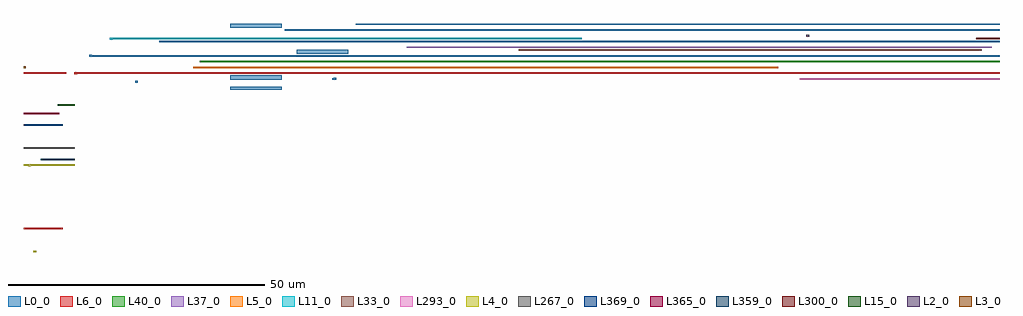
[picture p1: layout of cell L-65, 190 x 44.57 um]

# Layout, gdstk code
import gdstk
lib = gdstk.Library(unit=1e-6, precision=1e-09)
def P(c, l, *ps):  # polygons
    for p in ps: c.add(gdstk.Polygon(p, *l))
L0_0 = (0, 0)
L2_0 = (2, 0)
L3_0 = (3, 0)
L4_0 = (4, 0)
L5_0 = (5, 0)
L6_0 = (6, 0)
L11_0 = (11, 0)
L15_0 = (15, 0)
L33_0 = (33, 0)
L37_0 = (37, 0)
L40_0 = (40, 0)
L267_0 = (267, 0)
L293_0 = (293, 0)
L300_0 = (300, 0)
L359_0 = (359, 0)
L365_0 = (365, 0)
L369_0 = (369, 0)

l_65 = lib.new_cell('L-65')
P(l_65, L0_0, [(1260.13,764.26),(1260.74,764.26),(1260.74,763.98),(1260.13,763.98),(1260.13,764.26)],
  [(1260.08,764.26),(1260.46,764.26),(1260.46,763.98),(1260.08,763.98),(1260.08,764.26)],
  [(1260.36,764.31),(1260.84,764.31),(1260.84,763.93),(1260.36,763.93),(1260.36,764.31)],
  [(1390,773.5),(1250.89,773.5),(1250.89,773.78),(1390,773.78),(1390,773.5)],
  [(1250.84,773.78),(1251.22,773.78),(1251.22,773.5),(1250.84,773.5),(1250.84,773.78)],
  [(1264.7,774.9),(1265.08,774.9),(1265.08,774.62),(1264.7,774.62),(1264.7,774.9)],
  [(1390,774.62),(1264.75,774.62),(1264.75,774.9),(1390,774.9),(1390,774.62)],
  [(1212.84,768.79),(1213.32,768.79),(1213.32,768.41),(1212.84,768.41),(1212.84,768.79)],
  [(1390,768.46),(1212.94,768.46),(1212.94,768.74),(1390,768.74),(1390,768.46)],
  [(1226.42,771.54),(1226.8,771.54),(1226.8,771.26),(1226.42,771.26),(1226.42,771.54)],
  [(1390,771.26),(1226.47,771.26),(1226.47,771.54),(1390,771.54),(1390,771.26)],
  [(1221.72,763.75),(1222.26,763.75),(1222.26,763.37),(1221.72,763.37),(1221.72,763.75)],
  [(1221.8,763.7),(1222.18,763.7),(1222.18,763.42),(1221.8,763.42),(1221.8,763.7)],
  [(1260.08,764.26),(1260.46,764.26),(1260.46,763.98),(1260.08,763.98),(1260.08,764.26)],
  [(1260.36,764.31),(1260.84,764.31),(1260.84,763.93),(1260.36,763.93),(1260.36,764.31)],
  [(1240.24,774.88),(1250.24,774.88),(1250.24,774.08),(1240.24,774.08),(1240.24,774.88)],
  [(1240.24,774.88),(1250.24,774.88),(1250.24,774.08),(1240.24,774.08),(1240.24,774.88)],
  [(1240.24,764.8),(1250.24,764.8),(1250.24,764),(1240.24,764),(1240.24,764.8)],
  [(1240.24,764.8),(1250.24,764.8),(1250.24,764),(1240.24,764),(1240.24,764.8)],
  [(1253.24,769.84),(1263.24,769.84),(1263.24,769.04),(1253.24,769.04),(1253.24,769.84)],
  [(1253.24,769.84),(1263.24,769.84),(1263.24,769.04),(1253.24,769.04),(1253.24,769.84)],
  [(1240.81,762),(1240.81,762.62),(1247.95,762.62),(1247.95,762),(1240.81,762)],
  [(1240.24,762),(1240.24,762.62),(1250.24,762.62),(1250.24,762),(1240.24,762)])
P(l_65, L2_0, [(1352.4,772.71),(1352.94,772.71),(1352.94,772.33),(1352.4,772.33),(1352.4,772.71)],
  [(1352.48,772.66),(1352.86,772.66),(1352.86,772.38),(1352.48,772.38),(1352.48,772.66)])
P(l_65, L3_0, [(1200,766.55),(1200.48,766.55),(1200.48,766.17),(1200,766.17),(1200,766.55)],
  [(1200.02,766.5),(1200.4,766.5),(1200.4,766.22),(1200.02,766.22),(1200.02,766.5)])
P(l_65, L4_0, [(1200,747.46),(1201.34,747.46),(1201.34,747.18),(1200,747.18),(1200,747.46)],
  [(1210,747.18),(1201.06,747.18),(1201.06,747.46),(1210,747.46),(1210,747.18)],
  [(1200.96,747.51),(1201.44,747.51),(1201.44,747.13),(1200.96,747.13),(1200.96,747.51)],
  [(1210,747.18),(1201.06,747.18),(1201.06,747.46),(1210,747.46),(1210,747.18)],
  [(1200.96,747.51),(1201.44,747.51),(1201.44,747.13),(1200.96,747.13),(1200.96,747.51)],
  [(1202,730.66),(1202.38,730.66),(1202.38,730.38),(1202,730.38),(1202,730.66)],
  [(1201.92,730.71),(1202.46,730.71),(1202.46,730.33),(1201.92,730.33),(1201.92,730.71)])
P(l_65, L5_0, [(1233.07,766.5),(1346.87,766.5),(1346.87,766.22),(1233.07,766.22),(1233.07,766.5)],
  [(1346.54,766.5),(1346.92,766.5),(1346.92,766.22),(1346.54,766.22),(1346.54,766.5)],
  [(1233.02,766.5),(1233.4,766.5),(1233.4,766.22),(1233.02,766.22),(1233.02,766.5)])
P(l_65, L6_0, [(1390,765.1),(1209.97,765.1),(1209.97,765.38),(1390,765.38),(1390,765.1)],
  [(1209.87,765.43),(1210.35,765.43),(1210.35,765.05),(1209.87,765.05),(1209.87,765.43)],
  [(1200,765.38),(1208.27,765.38),(1208.27,765.1),(1200,765.1),(1200,765.38)],
  [(1207.94,765.38),(1208.32,765.38),(1208.32,765.1),(1207.94,765.1),(1207.94,765.38)],
  [(1200,735.19),(1200.45,735.19),(1200.45,734.81),(1200,734.81),(1200,735.19)],
  [(1207.28,735.14),(1207.66,735.14),(1207.66,734.86),(1207.28,734.86),(1207.28,735.14)],
  [(1200.07,735.14),(1207.61,735.14),(1207.61,734.86),(1200.07,734.86),(1200.07,735.14)])
P(l_65, L11_0, [(1216.8,772.15),(1217.28,772.15),(1217.28,771.77),(1216.8,771.77),(1216.8,772.15)],
  [(1216.9,772.1),(1308.59,772.1),(1308.59,771.82),(1216.9,771.82),(1216.9,772.1)],
  [(1308.26,772.1),(1308.64,772.1),(1308.64,771.82),(1308.26,771.82),(1308.26,772.1)])
P(l_65, L15_0, [(1210,758.94),(1206.67,758.94),(1206.67,759.22),(1210,759.22),(1210,758.94)],
  [(1206.62,759.22),(1207,759.22),(1207,758.94),(1206.62,758.94),(1206.62,759.22)])
P(l_65, L33_0, [(1296.38,769.86),(1296.76,769.86),(1296.76,769.58),(1296.38,769.58),(1296.38,769.86)],
  [(1386.14,769.86),(1386.52,769.86),(1386.52,769.58),(1386.14,769.58),(1386.14,769.86)],
  [(1296.43,769.86),(1386.47,769.86),(1386.47,769.58),(1296.43,769.58),(1296.43,769.86)])
P(l_65, L37_0, [(1274.65,770.42),(1388.45,770.42),(1388.45,770.14),(1274.65,770.14),(1274.65,770.42)],
  [(1274.6,770.42),(1274.98,770.42),(1274.98,770.14),(1274.6,770.14),(1274.6,770.42)],
  [(1388.12,770.42),(1388.5,770.42),(1388.5,770.14),(1388.12,770.14),(1388.12,770.42)])
P(l_65, L40_0, [(1234.34,767.62),(1234.72,767.62),(1234.72,767.34),(1234.34,767.34),(1234.34,767.62)],
  [(1390,767.34),(1234.39,767.34),(1234.39,767.62),(1390,767.62),(1390,767.34)])
P(l_65, L267_0, [(1200,750.82),(1210,750.82),(1210,750.54),(1200,750.54),(1200,750.82)])
P(l_65, L293_0, [(1390,763.98),(1351.21,763.98),(1351.21,764.26),(1390,764.26),(1390,763.98)],
  [(1351.16,764.26),(1351.54,764.26),(1351.54,763.98),(1351.16,763.98),(1351.16,764.26)])
P(l_65, L300_0, [(1385.48,772.1),(1385.86,772.1),(1385.86,771.82),(1385.48,771.82),(1385.48,772.1)],
  [(1390,771.82),(1385.53,771.82),(1385.53,772.1),(1390,772.1),(1390,771.82)])
P(l_65, L359_0, [(1210,748.3),(1203.37,748.3),(1203.37,748.58),(1210,748.58),(1210,748.3)],
  [(1203.32,748.58),(1203.7,748.58),(1203.7,748.3),(1203.32,748.3),(1203.32,748.58)])
P(l_65, L365_0, [(1206.62,757.54),(1207,757.54),(1207,757.26),(1206.62,757.26),(1206.62,757.54)],
  [(1200,757.54),(1206.95,757.54),(1206.95,757.26),(1200,757.26),(1200,757.54)])
P(l_65, L369_0, [(1207.28,755.3),(1207.66,755.3),(1207.66,755.02),(1207.28,755.02),(1207.28,755.3)],
  [(1200,755.3),(1207.61,755.3),(1207.61,755.02),(1200,755.02),(1200,755.3)])

lib.write_gds('L-65.gds')
